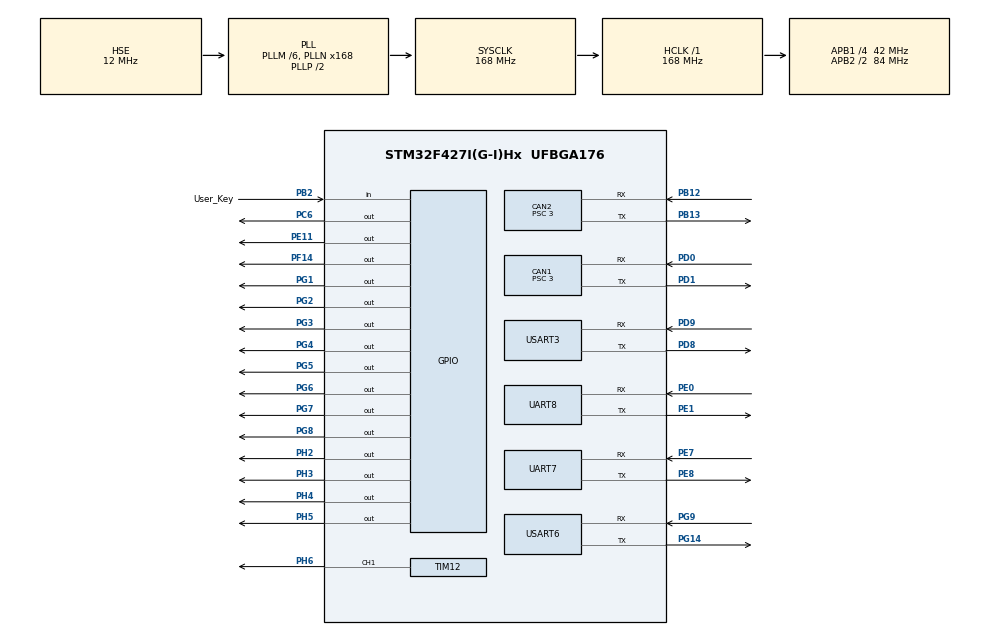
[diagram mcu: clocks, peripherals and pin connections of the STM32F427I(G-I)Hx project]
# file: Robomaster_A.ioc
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CAN1.BS1=CAN_BS1_10TQ
CAN1.BS2=CAN_BS2_3TQ
CAN1.CalculateBaudRate=1000000
CAN1.CalculateTimeBit=1000
CAN1.CalculateTimeQuantum=71.42857142857143
CAN1.Prescaler=3
CAN2.BS1=CAN_BS1_10TQ
CAN2.BS2=CAN_BS2_3TQ
CAN2.CalculateBaudRate=1000000
CAN2.CalculateTimeBit=1000
CAN2.CalculateTimeQuantum=71.42857142857143
CAN2.Prescaler=3
Dma.Request0=USART3_TX
Dma.Request1=UART7_RX
Dma.Request2=UART7_TX
Dma.Request3=UART8_TX
Dma.Request4=UART8_RX
Dma.Request5=USART6_RX
Dma.Request6=USART6_TX
Dma.UART7_RX.1.Direction=DMA_PERIPH_TO_MEMORY
Dma.UART7_RX.1.FIFOMode=DMA_FIFOMODE_DISABLE
Dma.UART7_RX.1.Instance=DMA1_Stream3
Dma.UART7_RX.1.MemDataAlignment=DMA_MDATAALIGN_BYTE
Dma.UART7_RX.1.MemInc=DMA_MINC_ENABLE
Dma.UART7_RX.1.Mode=DMA_NORMAL
Dma.UART7_RX.1.PeriphDataAlignment=DMA_PDATAALIGN_BYTE
Dma.UART7_RX.1.PeriphInc=DMA_PINC_DISABLE
Dma.UART7_RX.1.Priority=DMA_PRIORITY_LOW
Dma.UART7_TX.2.Direction=DMA_MEMORY_TO_PERIPH
Dma.UART7_TX.2.FIFOMode=DMA_FIFOMODE_DISABLE
Dma.UART7_TX.2.Instance=DMA1_Stream1
Dma.UART7_TX.2.MemDataAlignment=DMA_MDATAALIGN_BYTE
Dma.UART7_TX.2.MemInc=DMA_MINC_ENABLE
Dma.UART7_TX.2.Mode=DMA_NORMAL
Dma.UART7_TX.2.PeriphDataAlignment=DMA_PDATAALIGN_BYTE
Dma.UART7_TX.2.PeriphInc=DMA_PINC_DISABLE
Dma.UART7_TX.2.Priority=DMA_PRIORITY_LOW
Dma.UART8_RX.4.Direction=DMA_PERIPH_TO_MEMORY
Dma.UART8_RX.4.FIFOMode=DMA_FIFOMODE_DISABLE
Dma.UART8_RX.4.Instance=DMA1_Stream6
Dma.UART8_RX.4.MemDataAlignment=DMA_MDATAALIGN_BYTE
Dma.UART8_RX.4.MemInc=DMA_MINC_ENABLE
Dma.UART8_RX.4.Mode=DMA_NORMAL
Dma.UART8_RX.4.PeriphDataAlignment=DMA_PDATAALIGN_BYTE
Dma.UART8_RX.4.PeriphInc=DMA_PINC_DISABLE
Dma.UART8_RX.4.Priority=DMA_PRIORITY_LOW
Dma.UART8_TX.3.Direction=DMA_MEMORY_TO_PERIPH
Dma.UART8_TX.3.FIFOMode=DMA_FIFOMODE_DISABLE
Dma.UART8_TX.3.Instance=DMA1_Stream0
Dma.UART8_TX.3.MemDataAlignment=DMA_MDATAALIGN_BYTE
Dma.UART8_TX.3.MemInc=DMA_MINC_ENABLE
Dma.UART8_TX.3.Mode=DMA_NORMAL
Dma.UART8_TX.3.PeriphDataAlignment=DMA_PDATAALIGN_BYTE
Dma.UART8_TX.3.PeriphInc=DMA_PINC_DISABLE
Dma.UART8_TX.3.Priority=DMA_PRIORITY_LOW
Dma.USART3_TX.0.Direction=DMA_MEMORY_TO_PERIPH
Dma.USART3_TX.0.FIFOMode=DMA_FIFOMODE_DISABLE
Dma.USART3_TX.0.Instance=DMA1_Stream4
Dma.USART3_TX.0.MemDataAlignment=DMA_MDATAALIGN_BYTE
Dma.USART3_TX.0.MemInc=DMA_MINC_ENABLE
Dma.USART3_TX.0.Mode=DMA_NORMAL
Dma.USART3_TX.0.PeriphDataAlignment=DMA_PDATAALIGN_BYTE
Dma.USART3_TX.0.PeriphInc=DMA_PINC_DISABLE
Dma.USART3_TX.0.Priority=DMA_PRIORITY_LOW
Dma.USART6_RX.5.Direction=DMA_PERIPH_TO_MEMORY
Dma.USART6_RX.5.FIFOMode=DMA_FIFOMODE_DISABLE
Dma.USART6_RX.5.Instance=DMA2_Stream1
Dma.USART6_RX.5.MemDataAlignment=DMA_MDATAALIGN_BYTE
Dma.USART6_RX.5.MemInc=DMA_MINC_ENABLE
Dma.USART6_RX.5.Mode=DMA_NORMAL
Dma.USART6_RX.5.PeriphDataAlignment=DMA_PDATAALIGN_BYTE
Dma.USART6_RX.5.PeriphInc=DMA_PINC_DISABLE
Dma.USART6_RX.5.Priority=DMA_PRIORITY_LOW
Dma.USART6_TX.6.Direction=DMA_MEMORY_TO_PERIPH
Dma.USART6_TX.6.FIFOMode=DMA_FIFOMODE_DISABLE
Dma.USART6_TX.6.Instance=DMA2_Stream6
Dma.USART6_TX.6.MemDataAlignment=DMA_MDATAALIGN_BYTE
Dma.USART6_TX.6.MemInc=DMA_MINC_ENABLE
Dma.USART6_TX.6.Mode=DMA_NORMAL
Dma.USART6_TX.6.PeriphDataAlignment=DMA_PDATAALIGN_BYTE
Dma.USART6_TX.6.PeriphInc=DMA_PINC_DISABLE
Dma.USART6_TX.6.Priority=DMA_PRIORITY_LOW
FREERTOS.Tasks01=StartDebug,0,128,StartDebugTask,Default,NULL,Dynamic,NULL,NULL;Test_Task,0,256,Test_TaskTask,Default,NULL,Dynamic,NULL,NULL
FREERTOS.configUSE_NEWLIB_REENTRANT=0
Mcu.Family=STM32F4
Mcu.Name=STM32F427I(G-I)Hx
Mcu.Package=UFBGA176
NVIC.CAN1_RX0_IRQn=true\:5\:0\:true\:false\:true\:true\:true\:true\:true
NVIC.CAN2_RX0_IRQn=true\:5\:0\:false\:false\:true\:true\:true\:true\:true
NVIC.DMA1_Stream0_IRQn=true\:5\:0\:true\:false\:true\:true\:false\:true\:true
NVIC.DMA1_Stream1_IRQn=true\:5\:0\:true\:false\:true\:true\:false\:true\:true
NVIC.DMA1_Stream3_IRQn=true\:5\:0\:true\:false\:true\:true\:false\:true\:true
NVIC.DMA1_Stream4_IRQn=true\:5\:0\:true\:false\:true\:true\:false\:true\:true
NVIC.DMA1_Stream6_IRQn=true\:5\:0\:true\:false\:true\:true\:false\:true\:true
NVIC.DMA2_Stream1_IRQn=true\:5\:0\:false\:false\:true\:true\:false\:true\:true
NVIC.DMA2_Stream6_IRQn=true\:5\:0\:false\:false\:true\:true\:false\:true\:true
NVIC.PriorityGroup=NVIC_PRIORITYGROUP_4
NVIC.TIM4_IRQn=true\:15\:0\:false\:false\:true\:false\:false\:true\:true
NVIC.TimeBase=TIM4_IRQn
NVIC.TimeBaseIP=TIM4
NVIC.UART7_IRQn=true\:5\:0\:true\:false\:true\:true\:true\:true\:true
NVIC.UART8_IRQn=true\:5\:0\:true\:false\:true\:true\:true\:true\:true
NVIC.USART3_IRQn=true\:5\:0\:true\:false\:true\:true\:true\:true\:true
NVIC.USART6_IRQn=true\:5\:0\:false\:false\:true\:true\:true\:true\:true
PA13.Mode=Serial_Wire
PA13.Signal=SYS_JTMS-SWDIO
PA14.Mode=Serial_Wire
PA14.Signal=SYS_JTCK-SWCLK
PB12.Mode=CAN_Activate
PB12.Signal=CAN2_RX
PB13.Mode=CAN_Activate
PB13.Signal=CAN2_TX
PB2/BOOT1.GPIO_Label=User_Key
PB2/BOOT1.GPIO_PuPd=GPIO_PULLDOWN
PB2/BOOT1.Signal=GPIO_Input
PC6.Signal=GPIO_Output
PD0.Mode=CAN_Activate
PD0.Signal=CAN1_RX
PD1.Mode=CAN_Activate
PD1.Signal=CAN1_TX
PD8.Mode=Asynchronous
PD8.Signal=USART3_TX
PD9.Mode=Asynchronous
PD9.Signal=USART3_RX
PE0.Mode=Asynchronous
PE0.Signal=UART8_RX
PE1.Mode=Asynchronous
PE1.Signal=UART8_TX
PE11.GPIO_PuPd=GPIO_NOPULL
PE11.GPIO_Speed=GPIO_SPEED_FREQ_HIGH
PE11.Signal=GPIO_Output
PE7.Mode=Asynchronous
PE7.Signal=UART7_RX
PE8.Mode=Asynchronous
PE8.Signal=UART7_TX
PF14.GPIO_Speed=GPIO_SPEED_FREQ_HIGH
PF14.Signal=GPIO_Output
PG1.GPIO_Speed=GPIO_SPEED_FREQ_LOW
PG1.PinState=GPIO_PIN_SET
PG1.Signal=GPIO_Output
PG14.Mode=Asynchronous
PG14.Signal=USART6_TX
PG2.GPIO_Speed=GPIO_SPEED_FREQ_LOW
PG2.PinState=GPIO_PIN_SET
PG2.Signal=GPIO_Output
PG3.GPIO_Speed=GPIO_SPEED_FREQ_LOW
PG3.PinState=GPIO_PIN_SET
PG3.Signal=GPIO_Output
PG4.GPIO_Speed=GPIO_SPEED_FREQ_LOW
PG4.PinState=GPIO_PIN_SET
PG4.Signal=GPIO_Output
PG5.GPIO_Speed=GPIO_SPEED_FREQ_LOW
PG5.PinState=GPIO_PIN_SET
PG5.Signal=GPIO_Output
PG6.GPIO_Speed=GPIO_SPEED_FREQ_LOW
PG6.PinState=GPIO_PIN_SET
PG6.Signal=GPIO_Output
PG7.GPIO_Speed=GPIO_SPEED_FREQ_LOW
PG7.PinState=GPIO_PIN_SET
PG7.Signal=GPIO_Output
PG8.GPIO_Speed=GPIO_SPEED_FREQ_LOW
PG8.PinState=GPIO_PIN_SET
PG8.Signal=GPIO_Output
PG9.Mode=Asynchronous
PG9.Signal=USART6_RX
PH0/OSC_IN.Mode=HSE-External-Oscillator
PH0/OSC_IN.Signal=RCC_OSC_IN
PH1/OSC_OUT.Mode=HSE-External-Oscillator
PH1/OSC_OUT.Signal=RCC_OSC_OUT
PH2.Signal=GPIO_Output
PH3.Signal=GPIO_Output
PH4.Signal=GPIO_Output
PH5.Signal=GPIO_Output
PH6.Signal=S_TIM12_CH1
ProjectManager.HeapSize=0x200
ProjectManager.StackSize=0x400
ProjectManager.TargetToolchain=STM32CubeIDE
RCC.48MHZClocksFreq_Value=84000000
RCC.AHBFreq_Value=168000000
RCC.APB1CLKDivider=RCC_HCLK_DIV4
RCC.APB1Freq_Value=42000000
RCC.APB1TimFreq_Value=84000000
RCC.APB2CLKDivider=RCC_HCLK_DIV2
RCC.APB2Freq_Value=84000000
RCC.APB2TimFreq_Value=168000000
RCC.CortexFreq_Value=168000000
RCC.HCLKFreq_Value=168000000
RCC.HSE_VALUE=12000000
RCC.HSI_VALUE=16000000
RCC.LSE_VALUE=32768
RCC.PLLM=6
RCC.PLLN=168
RCC.PLLSourceVirtual=RCC_PLLSOURCE_HSE
RCC.SYSCLKFreq_VALUE=168000000
RCC.SYSCLKSource=RCC_SYSCLKSOURCE_PLLCLK
RCC.VCOOutputFreq_Value=336000000
SH.S_TIM12_CH1.0=TIM12_CH1,PWM Generation1 CH1
TIM12.AutoReloadPreload=TIM_AUTORELOAD_PRELOAD_ENABLE
TIM12.Channel-PWM\ Generation1\ CH1=TIM_CHANNEL_1
TIM12.Period=16799
TIM12.Prescaler=3
UART7.VirtualMode=Asynchronous
UART8.VirtualMode=Asynchronous
USART3.VirtualMode=VM_ASYNC
USART6.VirtualMode=VM_ASYNC
VP_FREERTOS_VS_CMSIS_V1.Mode=CMSIS_V1
VP_SYS_VS_tim4.Mode=TIM4
VP_TIM12_VS_ClockSourceINT.Mode=Internal
board=custom

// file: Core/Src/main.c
/* USER CODE BEGIN Header */
/**
  ******************************************************************************
  * @file           : main.c
  * @brief          : Main program body
  ******************************************************************************
  * @attention
  *
  * Copyright (c) 2023 STMicroelectronics.
  * All rights reserved.
  *
  * This software is licensed under terms that can be found in the LICENSE file
  * in the root directory of this software component.
  * If no LICENSE file comes with this software, it is provided AS-IS.
  *
  ******************************************************************************
  */
/* USER CODE END Header */
#include "main.h"
#include "cmsis_os.h"
#include "can.h"
#include "dma.h"
#include "tim.h"
#include "usart.h"
#include "gpio.h"

void SystemClock_Config(void);
void MX_FREERTOS_Init(void);

int main(void)
{

  /* MCU Configuration--------------------------------------------------------*/

  /* Reset of all peripherals, Initializes the Flash interface and the Systick. */
  HAL_Init();

  /* Configure the system clock */
  SystemClock_Config();

  /* Initialize all configured peripherals */
  MX_GPIO_Init();
  MX_DMA_Init();
  MX_CAN1_Init();
  MX_CAN2_Init();
  MX_USART3_UART_Init();
  MX_USART6_UART_Init();
  MX_UART8_Init();
  MX_UART7_Init();
  MX_TIM12_Init();

  /* Call init function for freertos objects (in freertos.c) */
  MX_FREERTOS_Init();

  /* Start scheduler */
  osKernelStart();

  /* We should never get here as control is now taken by the scheduler */
  /* Infinite loop */
  while (1)
  {

  }
}

void SystemClock_Config(void)
{
  RCC_OscInitTypeDef RCC_OscInitStruct = {0};
  RCC_ClkInitTypeDef RCC_ClkInitStruct = {0};

  /** Configure the main internal regulator output voltage
  */
  __HAL_RCC_PWR_CLK_ENABLE();
  __HAL_PWR_VOLTAGESCALING_CONFIG(PWR_REGULATOR_VOLTAGE_SCALE1);

  /** Initializes the RCC Oscillators according to the specified parameters
  * in the RCC_OscInitTypeDef structure.
  */
  RCC_OscInitStruct.OscillatorType = RCC_OSCILLATORTYPE_HSE;
  RCC_OscInitStruct.HSEState = RCC_HSE_ON;
  RCC_OscInitStruct.PLL.PLLState = RCC_PLL_ON;
  RCC_OscInitStruct.PLL.PLLSource = RCC_PLLSOURCE_HSE;
  RCC_OscInitStruct.PLL.PLLM = 6;
  RCC_OscInitStruct.PLL.PLLN = 168;
  RCC_OscInitStruct.PLL.PLLP = RCC_PLLP_DIV2;
  RCC_OscInitStruct.PLL.PLLQ = 4;
  if (HAL_RCC_OscConfig(&RCC_OscInitStruct) != HAL_OK)
  {
    Error_Handler();
  }

  /** Initializes the CPU, AHB and APB buses clocks
  */
  RCC_ClkInitStruct.ClockType = RCC_CLOCKTYPE_HCLK|RCC_CLOCKTYPE_SYSCLK
                              |RCC_CLOCKTYPE_PCLK1|RCC_CLOCKTYPE_PCLK2;
  RCC_ClkInitStruct.SYSCLKSource = RCC_SYSCLKSOURCE_PLLCLK;
  RCC_ClkInitStruct.AHBCLKDivider = RCC_SYSCLK_DIV1;
  RCC_ClkInitStruct.APB1CLKDivider = RCC_HCLK_DIV4;
  RCC_ClkInitStruct.APB2CLKDivider = RCC_HCLK_DIV2;

  if (HAL_RCC_ClockConfig(&RCC_ClkInitStruct, FLASH_LATENCY_5) != HAL_OK)
  {
    Error_Handler();
  }
}

void HAL_TIM_PeriodElapsedCallback(TIM_HandleTypeDef *htim)
{
  if (htim->Instance == TIM4) {
    HAL_IncTick();
  }
}

void Error_Handler(void)
{
  __disable_irq();
  while (1)
  {
  }
}

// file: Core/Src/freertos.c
/* USER CODE BEGIN Header */
/**
  ******************************************************************************
  * File Name          : freertos.c
  * Description        : Code for freertos applications
  ******************************************************************************
  * @attention
  *
  * Copyright (c) 2023 STMicroelectronics.
  * All rights reserved.
  *
  * This software is licensed under terms that can be found in the LICENSE file
  * in the root directory of this software component.
  * If no LICENSE file comes with this software, it is provided AS-IS.
  *
  ******************************************************************************
  */
/* USER CODE END Header */

#include "FreeRTOS.h"
#include "task.h"
#include "main.h"
#include "cmsis_os.h"

osThreadId StartDebugHandle;
osThreadId Test_TaskHandle;

void StartDebugTask(void const * argument);
void Test_TaskTask(void const * argument);

void MX_FREERTOS_Init(void); /* (MISRA C 2004 rule 8.1) */

/* GetIdleTaskMemory prototype (linked to static allocation support) */
void vApplicationGetIdleTaskMemory( StaticTask_t **ppxIdleTaskTCBBuffer, StackType_t **ppxIdleTaskStackBuffer, uint32_t *pulIdleTaskStackSize );

/* USER CODE BEGIN GET_IDLE_TASK_MEMORY */
static StaticTask_t xIdleTaskTCBBuffer;
static StackType_t xIdleStack[configMINIMAL_STACK_SIZE];

void vApplicationGetIdleTaskMemory( StaticTask_t **ppxIdleTaskTCBBuffer, StackType_t **ppxIdleTaskStackBuffer, uint32_t *pulIdleTaskStackSize )
{
  *ppxIdleTaskTCBBuffer = &xIdleTaskTCBBuffer;
  *ppxIdleTaskStackBuffer = &xIdleStack[0];
  *pulIdleTaskStackSize = configMINIMAL_STACK_SIZE;
  /* place for user code */
}
/* USER CODE END GET_IDLE_TASK_MEMORY */

void MX_FREERTOS_Init(void) {

  /* Create the thread(s) */
  /* definition and creation of StartDebug */
  osThreadDef(StartDebug, StartDebugTask, osPriorityNormal, 0, 128);
  StartDebugHandle = osThreadCreate(osThread(StartDebug), NULL);

  /* definition and creation of Test_Task */
  osThreadDef(Test_Task, Test_TaskTask, osPriorityNormal, 0, 256);
  Test_TaskHandle = osThreadCreate(osThread(Test_Task), NULL);

  /* USER CODE BEGIN RTOS_THREADS */
  /* add threads, ... */
    vTaskResume(StartDebugHandle);
    vTaskResume(Test_TaskHandle);
  /* USER CODE END RTOS_THREADS */

}

void StartDebugTask(void const * argument)
{
  /* USER CODE BEGIN StartDebugTask */
    Mymain_Init();
  /* Infinite loop */
  for(;;)
  {
      BUZZER_OFF;
      LED1_Flash();
      LED2_Flash();
      WaterLED();

      osDelay(10);
  }
  /* USER CODE END StartDebugTask */
}

void Test_TaskTask(void const * argument)
{
  /* USER CODE BEGIN Test_TaskTask */
    PID_BASESTR MOTOR3508_P;
    PID_BASESTR MOTOR3508_S;

    int16_t Speed;

    PID_Set(&MOTOR3508_S,3.0f,0.03f,0,10000,0);
    PID_Set(&MOTOR3508_P,0.06f,0.0f,4.2f,0,0);

  /* Infinite loop */
  for(;;)
  {

//      Speed = (int16_t) PID_realise(&MOTOR3508_S,500,motor_info[4].speed,M3508_CURRENT_MAX);
      Speed = (int16_t) PID_realise(&MOTOR3508_P,8200,motor_info[4].total_angle,M3508_CURRENT_MAX);

      set_current(&hcan2,0x1FF,Speed,0,0,0);
//      usart_printf("%d,%d\r\n",motor_info[4].total_angle,Speed);

      osDelay(1);
  }
  /* USER CODE END Test_TaskTask */
}
